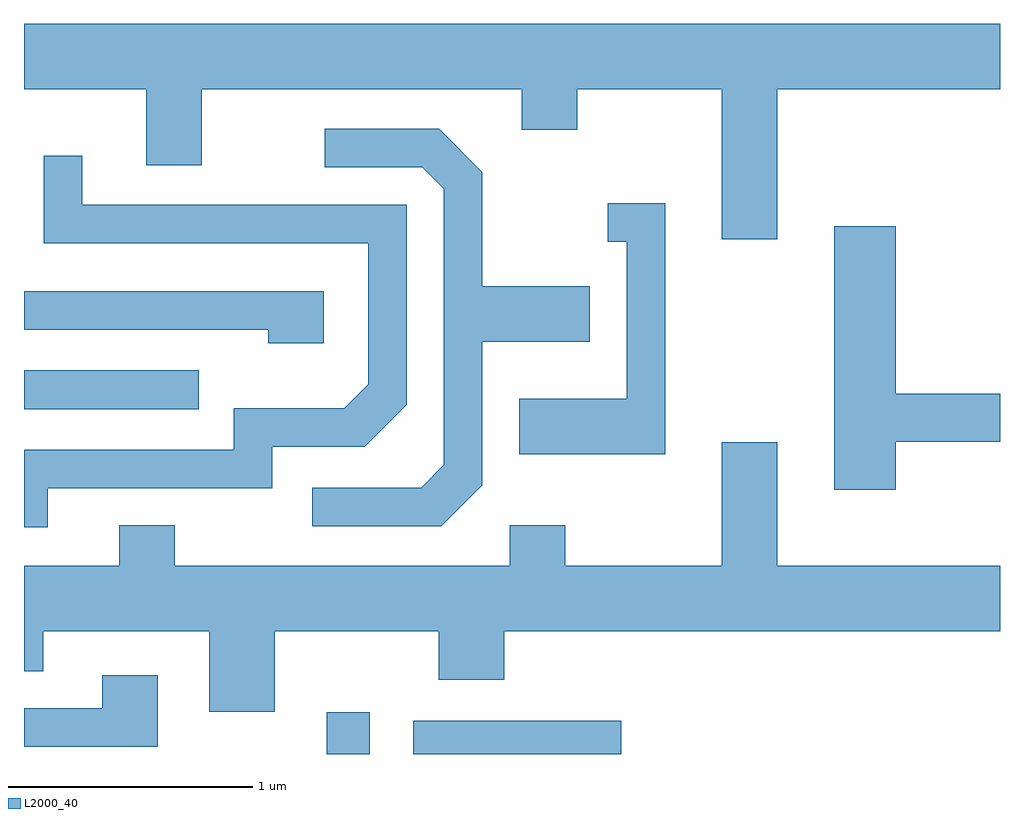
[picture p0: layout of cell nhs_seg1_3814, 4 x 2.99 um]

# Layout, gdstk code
import gdstk
lib = gdstk.Library(unit=1e-6, precision=1e-09)
def R(c, l, rs):  # rectangles x0, y0, x1, y1
    for r in rs: c.add(gdstk.rectangle(r[:2], r[2:], *l))
def P(c, l, *ps):  # polygons
    for p in ps: c.add(gdstk.Polygon(p, *l))
L2000_40 = (2000, 40)

nhs_seg1_3814 = lib.new_cell('nhs_seg1_3814')
R(nhs_seg1_3814, L2000_40, [(300.851,925.712,301.029,925.884), (301.206,925.712,302.058,925.849), (299.611,927.126,300.328,927.284)])
P(nhs_seg1_3814, L2000_40, [(299.611,928.436),(300.111,928.436),(300.111,928.126),(300.339,928.126),(300.339,928.436),(301.651,928.436),(301.651,928.271),(301.879,928.271),(301.879,928.436),(302.471,928.436),(302.471,927.821),(302.699,927.821),(302.699,928.436),(303.611,928.436),(303.611,928.704),(299.611,928.704)],
  [(301.489,926.814),(301.489,927.401),(301.929,927.401),(301.929,927.629),(301.489,927.629),(301.489,928.097),(301.312,928.274),(300.843,928.274),(300.843,928.116),(301.244,928.116),(301.331,928.029),(301.331,926.897),(301.239,926.804),(300.793,926.804),(300.793,926.646),(301.322,926.646)],
  [(299.709,926.801),(300.629,926.801),(300.629,926.971),(301.007,926.971),(301.179,927.144),(301.179,927.964),(299.849,927.964),(299.849,928.163),(299.691,928.163),(299.691,927.806),(301.021,927.806),(301.021,927.227),(300.924,927.129),(300.471,927.129),(300.471,926.959),(299.611,926.959),(299.611,926.641),(299.709,926.641)],
  [(302.239,927.969),(302.003,927.969),(302.003,927.811),(302.081,927.811),(302.081,927.169),(301.641,927.169),(301.641,926.941),(302.239,926.941)],
  [(303.184,926.991),(303.611,926.991),(303.611,927.189),(303.184,927.189),(303.184,927.874),(302.931,927.874),(302.931,926.796),(303.184,926.796)],
  [(300.839,927.609),(299.611,927.609),(299.611,927.451),(300.611,927.451),(300.611,927.396),(300.839,927.396)],
  [(300.639,926.216),(301.311,926.216),(301.311,926.016),(301.579,926.016),(301.579,926.216),(303.611,926.216),(303.611,926.484),(302.699,926.484),(302.699,926.989),(302.471,926.989),(302.471,926.484),(301.829,926.484),(301.829,926.649),(301.601,926.649),(301.601,926.484),(300.229,926.484),(300.229,926.649),(300.001,926.649),(300.001,926.484),(299.611,926.484),(299.611,926.051),(299.689,926.051),(299.689,926.216),(300.371,926.216),(300.371,925.886),(300.639,925.886)],
  [(300.159,926.034),(299.931,926.034),(299.931,925.899),(299.611,925.899),(299.611,925.741),(300.159,925.741)])

lib.write_gds('nhs_seg1_3814.gds')
